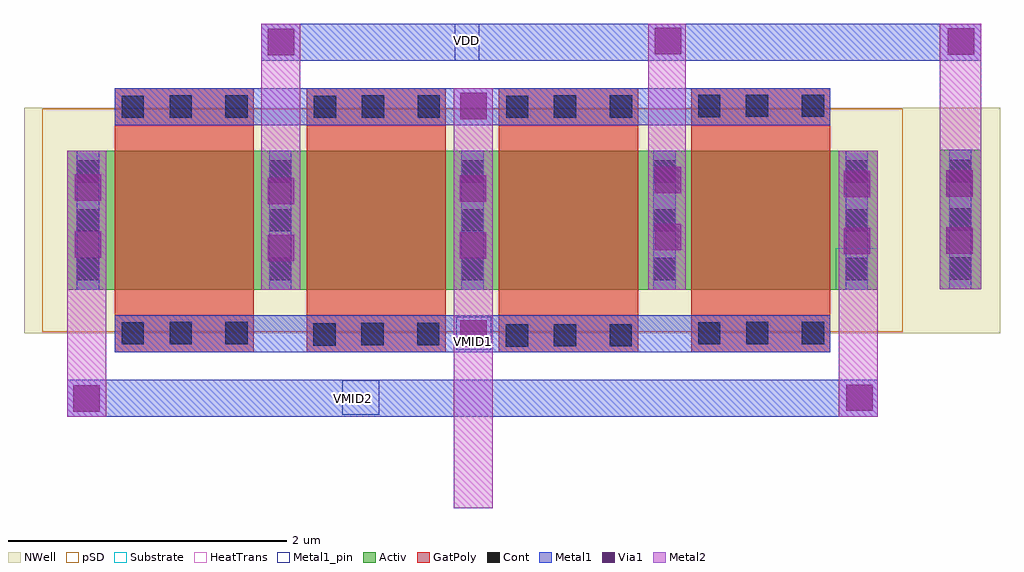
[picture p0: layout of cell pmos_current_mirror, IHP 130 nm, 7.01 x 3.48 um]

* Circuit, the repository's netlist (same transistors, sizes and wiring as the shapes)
* Extracted by KLayout with SG13G2 LVS runset on : 26/04/2024 16:29

* cell pmos_current_mirror
* pin VMID1
* pin VMID2
* pin VDD
.SUBCKT pmos_current_mirror VMID1 VMID2 VDD
* device instance $1 r0 *1 1.307,10.065 sg13_lv_pmos
M$1 VMID2 VMID1 VDD VDD sg13_lv_pmos W=2.0 L=1.0
* device instance $2 r0 *1 2.687,10.065 sg13_lv_pmos
M$2 VDD VMID1 VMID1 VDD sg13_lv_pmos W=2.0 L=1.0
.ENDS pmos_current_mirror

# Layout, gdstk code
import gdstk
lib = gdstk.Library(unit=1e-6, precision=1e-09)
def R(c, l, rs):  # rectangles x0, y0, x1, y1
    for r in rs: c.add(gdstk.rectangle(r[:2], r[2:], *l))
def A(c, l, x, y, w, h, nx, ny, dx, dy):  # array of equal rectangles
    R(c, l, [(x+i*dx, y+j*dy, x+i*dx+w, y+j*dy+h) for i in range(nx) for j in range(ny)])
Activ = (1, 0)
GatPoly = (5, 0)
Cont = (6, 0)
Metal1 = (8, 0)
Metal1_pin = (8, 2)
Metal2 = (10, 0)
pSD = (14, 0)
Via1 = (19, 0)
NWell = (31, 0)
Substrate = (40, 0)
HeatTrans = (51, 0)

pmos_1 = lib.new_cell('pmos$1')
A(pmos_1, Activ, 0, 0, 0.3, 0.3, 5, 1, 1.38, 0)
R(pmos_1, Activ, [(0,0,5.82,1)])
A(pmos_1, GatPoly, 0.34, -0.18, 1, 1.36, 4, 1, 1.38, 0)
R(pmos_1, GatPoly, [(0.34,-0.18,1.34,1.18), (0.34,-0.18,1.34,1.18)])
A(pmos_1, Cont, 0.07, 0.07, 0.16, 0.16, 5, 3, 1.38, 0.35)
A(pmos_1, Metal1, 1.45, 0, 0.16, 1, 4, 1, 1.38, 0)
R(pmos_1, Metal1, [(0.07,0,0.23,1), (0.07,0,0.23,1), (0.07,0,0.23,1), (1.45,0,1.61,1), (1.45,0,1.61,1)])
R(pmos_1, pSD, [(-0.18,-0.3,6,1.3)])
R(pmos_1, NWell, [(-0.31,-0.31,6.13,1.31)])
R(pmos_1, Substrate, [(5.52,0,5.82,0.3), (5.52,0,5.82,0.3)])
A(pmos_1, HeatTrans, 0.34, -0.18, 1, 1.36, 4, 1, 1.38, 0)
pmos_1.add(gdstk.Label('pmos', (0.84,0.5), layer=51, texttype=0))
pmos_1.add(gdstk.Label('pmos', (2.22,0.5), layer=51, texttype=0))
pmos_1.add(gdstk.Label('pmos', (3.6,0.5), layer=51, texttype=0))
pmos_1.add(gdstk.Label('pmos', (4.98,0.5), layer=51, texttype=0))
pmos_1.add(gdstk.Label('pmos', (0.84,0.5), layer=63, texttype=0))

pmos_current_mirror = lib.new_cell('pmos_current_mirror')
R(pmos_current_mirror, Activ, [(6.732,9.57,7.032,10.57)])
A(pmos_current_mirror, GatPoly, 0.807, 9.118, 1, 0.267, 4, 2, 1.38, 1.627)
A(pmos_current_mirror, Cont, 6.799, 9.64, 0.16, 0.16, 1, 3, 0, 0.35)
A(pmos_current_mirror, Cont, 0.858, 10.801, 0.16, 0.16, 3, 1, 1.38, 0)
R(pmos_current_mirror, Cont, [(3.617,9.157,3.777,9.317), (3.961,9.159,4.121,9.319), (4.362,9.159,4.522,9.319), (2.235,9.166,2.395,9.326), (2.579,9.168,2.739,9.328), (2.98,9.168,3.14,9.328), (0.858,9.174,1.018,9.334), (4.998,9.174,5.158,9.334), (1.202,9.176,1.362,9.336), (1.603,9.176,1.763,9.336), (5.342,9.176,5.502,9.336), (5.743,9.176,5.903,9.336), (1.202,10.803,1.362,10.963), (1.603,10.803,1.763,10.963), (2.582,10.803,2.742,10.963), (2.983,10.803,3.143,10.963), (3.962,10.803,4.122,10.963), (4.363,10.803,4.523,10.963), (4.997,10.805,5.157,10.965), (4.997,10.805,5.157,10.965), (5.341,10.807,5.501,10.967), (5.341,10.807,5.501,10.967), (5.742,10.807,5.902,10.967), (5.742,10.807,5.902,10.967)])
R(pmos_current_mirror, Metal1, [(0.467,8.655,6.287,8.921), (0.807,9.119,5.947,9.385), (6.799,9.57,6.959,10.57), (0.807,10.746,5.947,11.012), (1.86,11.21,7.032,11.476)])
R(pmos_current_mirror, Metal1_pin, [(2.441,8.669,2.707,8.916), (3.262,9.134,3.513,9.373), (3.25,11.21,3.425,11.476)])
R(pmos_current_mirror, Metal2, [(3.244,7.998,3.524,11.012), (0.467,8.655,0.747,10.565), (6.007,8.655,6.287,10.565), (4.638,9.565,4.907,11.476), (1.861,9.566,2.141,11.476), (6.732,9.57,7.032,11.476)])
R(pmos_current_mirror, Via1, [(0.511,8.691,0.701,8.881), (6.06,8.696,6.25,8.886), (3.289,9.156,3.479,9.346), (1.906,9.771,2.096,9.961), (3.285,9.789,3.475,9.979), (0.52,9.796,0.71,9.986), (6.044,9.82,6.234,10.01), (6.779,9.825,6.969,10.015), (4.685,9.85,4.875,10.04), (1.906,10.181,2.096,10.371), (3.285,10.199,3.475,10.389), (0.52,10.206,0.71,10.396), (6.044,10.23,6.234,10.42), (6.779,10.235,6.969,10.425), (4.685,10.26,4.875,10.45), (3.289,10.79,3.479,10.98), (1.906,11.252,2.096,11.442), (6.789,11.253,6.979,11.443), (4.687,11.259,4.877,11.449)])
R(pmos_current_mirror, NWell, [(6.597,9.255,7.165,10.875)])
pmos_current_mirror.add(gdstk.Reference(pmos_1, (0.467,9.565)))
pmos_current_mirror.add(gdstk.Label('VMID1', (3.385,9.192), layer=8, texttype=1))
pmos_current_mirror.add(gdstk.Label('VMID2', (2.524,8.786), layer=8, texttype=1))
pmos_current_mirror.add(gdstk.Label('VDD', (3.334,11.359), layer=8, texttype=1))

lib.write_gds('pmos_current_mirror.gds')
